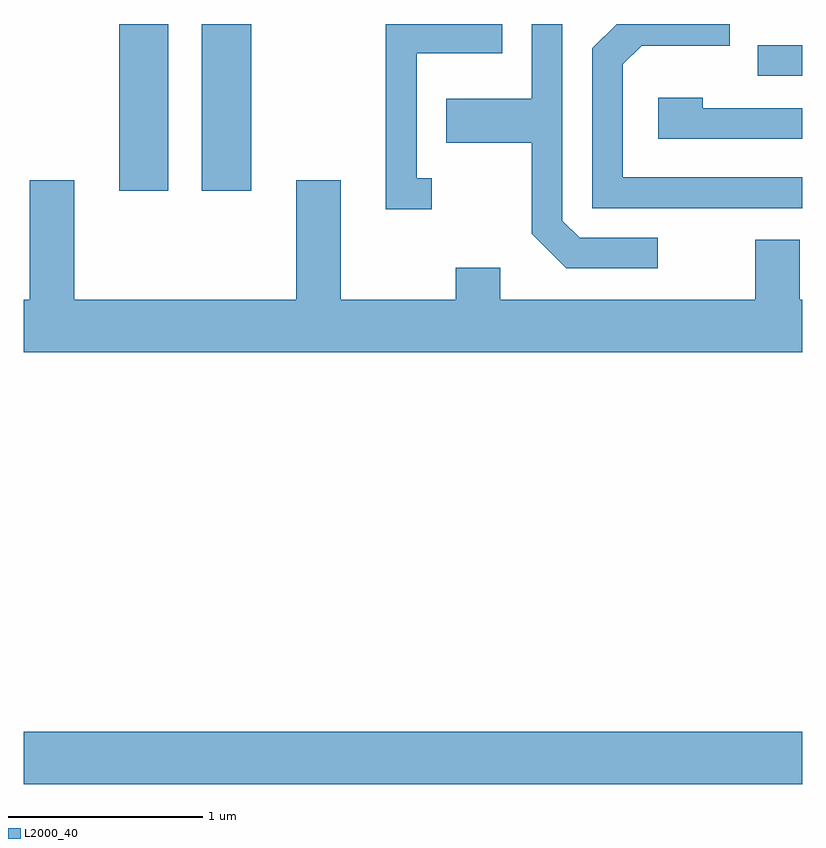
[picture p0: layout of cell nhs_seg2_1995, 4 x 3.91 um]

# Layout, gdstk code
import gdstk
lib = gdstk.Library(unit=1e-6, precision=1e-09)
def R(c, l, rs):  # rectangles x0, y0, x1, y1
    for r in rs: c.add(gdstk.rectangle(r[:2], r[2:], *l))
def P(c, l, *ps):  # polygons
    for p in ps: c.add(gdstk.Polygon(p, *l))
L2000_40 = (2000, 40)

nhs_seg2_1995 = lib.new_cell('nhs_seg2_1995')
R(nhs_seg2_1995, L2000_40, [(243.611,1023.896,247.611,1024.164), (244.101,1026.946,244.354,1027.802), (244.526,1026.946,244.779,1027.802), (247.383,1027.536,247.611,1027.694)])
P(nhs_seg2_1995, L2000_40, [(246.868,1026.704),(246.467,1026.704),(246.379,1026.792),(246.379,1027.802),(246.221,1027.802),(246.221,1027.419),(245.781,1027.419),(245.781,1027.191),(246.221,1027.191),(246.221,1026.724),(246.399,1026.546),(246.868,1026.546)],
  [(245.708,1027.009),(245.629,1027.009),(245.629,1027.651),(246.069,1027.651),(246.069,1027.802),(245.471,1027.802),(245.471,1026.851),(245.708,1026.851)],
  [(247.611,1027.014),(246.689,1027.014),(246.689,1027.594),(246.787,1027.691),(247.239,1027.691),(247.239,1027.802),(246.657,1027.802),(246.531,1027.677),(246.531,1026.856),(247.611,1026.856)],
  [(247.611,1027.369),(247.099,1027.369),(247.099,1027.424),(246.871,1027.424),(246.871,1027.211),(247.611,1027.211)],
  [(247.611,1026.384),(247.599,1026.384),(247.599,1026.694),(247.371,1026.694),(247.371,1026.384),(246.059,1026.384),(246.059,1026.549),(245.831,1026.549),(245.831,1026.384),(245.239,1026.384),(245.239,1026.999),(245.011,1026.999),(245.011,1026.384),(243.869,1026.384),(243.869,1026.999),(243.641,1026.999),(243.641,1026.384),(243.611,1026.384),(243.611,1026.116),(247.611,1026.116)])

lib.write_gds('nhs_seg2_1995.gds')
